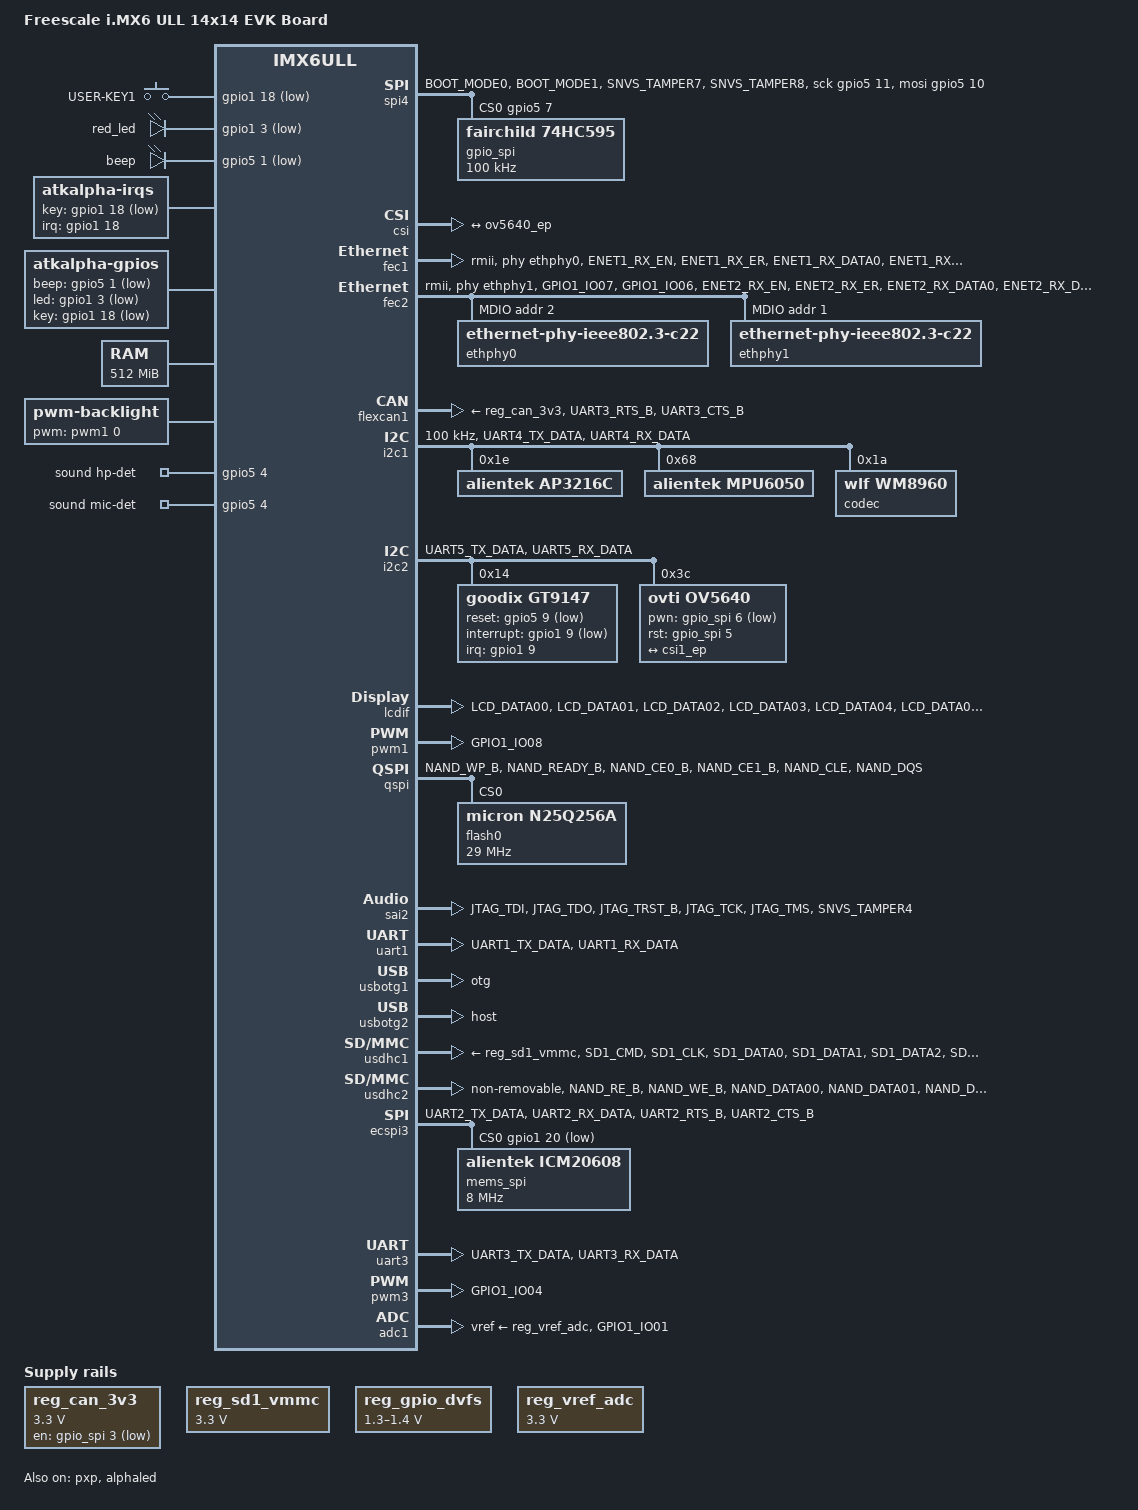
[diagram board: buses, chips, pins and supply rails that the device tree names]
/*
 * Copyright (C) 2016 Freescale Semiconductor, Inc.
 *
 * This program is free software; you can redistribute it and/or modify
 * it under the terms of the GNU General Public License version 2 as
 * published by the Free Software Foundation.
 */

/dts-v1/;

#include <dt-bindings/input/input.h>
#include "imx6ull.dtsi"

/ {
	model = "Freescale i.MX6 ULL 14x14 EVK Board";
	compatible = "fsl,imx6ull-14x14-evk", "fsl,imx6ull";

	gpio_keys: gpio_keys@0 {
		compatible = "gpio-keys";
		pinctrl-names = "default";
		pinctrl-0 = <&pinctrl_gpios>;
		#address-cells = <1>;
		#size-cells = <0>;
		autorepeat;

		key1@1 {
			label = "USER-KEY1";
			linux,code = <114>;
			gpios = <&gpio1 18 GPIO_ACTIVE_LOW>;
			gpio-key,wakeup;
		};
	};


	dtsleds {
		compatible = "gpio-leds";
		red_led {
			label = "red_led";
			gpios = <&gpio1 3 GPIO_ACTIVE_LOW>;
			linux,default-trigger = "heartbeat";
			default-state = "on";
		};
		beep {
			label = "beep";
			gpios = <&gpio5 1 GPIO_ACTIVE_LOW>;
			default-state = "off";
		};
	};

	irqs {
		#address-cells = <1>;
		#size-cells = <1>;
		compatible = "atkalpha-irqs";
		pinctrl-names = "default";
		pinctrl-0 = <&pinctrl_gpios>;
		key-gpio = <&gpio1 18 GPIO_ACTIVE_LOW>;
		interrupts = <18 IRQ_TYPE_EDGE_BOTH>;
		interrupt-parent = <&gpio1>;
		status = "okay";
	};

	gpios {
		#address-cells = <1>;
		#size-cells = <1>;
		compatible = "atkalpha-gpios";
		pinctrl-names = "default";
		pinctrl-0 = <&pinctrl_gpios>;
		beep-gpio = <&gpio5 1 GPIO_ACTIVE_LOW>;
		led-gpio = <&gpio1 3 GPIO_ACTIVE_LOW>;
		key-gpio = <&gpio1 18 GPIO_ACTIVE_LOW>;
		status = "okay";
	};

	alphaled {
		#address-cells = <1>;
		#size-cells = <1>;
		compatible = "atkalpha-led";
		status = "okay";
		reg = < 0X020C406C 0X04           /*CCM_CCGR1_BASE*/
				0X020E0068 0X04           /*SW_MUX_GPIO1_IO03_BASE*/
				0X020E02F4 0X04           /*SW_PAD_GPIO1_IO03_BASE*/
				0X0209C000 0X04           /*GPIO1_DR_BASE*/
				0X0209C004 0X04 >;        /*GPIO1_GDIR_BASE*/
	};

	chosen {
		stdout-path = &uart1;
	};

	memory {
		reg = <0x80000000 0x20000000>;
	};

	reserved-memory {
		#address-cells = <1>;
		#size-cells = <1>;
		ranges;

		linux,cma {
			compatible = "shared-dma-pool";
			reusable;
			size = <0x14000000>;
			linux,cma-default;
		};
	};

	backlight {
		compatible = "pwm-backlight";
		pwms = <&pwm1 0 5000000>;
		brightness-levels = <0 4 8 16 32 64 128 255>;
		default-brightness-level = <6>;
		status = "okay";
	};

	pxp_v4l2 {
		compatible = "fsl,imx6ul-pxp-v4l2", "fsl,imx6sx-pxp-v4l2", "fsl,imx6sl-pxp-v4l2";
		status = "okay";
	};

	regulators {
		compatible = "simple-bus";
		#address-cells = <1>;
		#size-cells = <0>;

		reg_can_3v3: regulator@0 {
			compatible = "regulator-fixed";
			reg = <0>;
			regulator-name = "can-3v3";
			regulator-min-microvolt = <3300000>;
			regulator-max-microvolt = <3300000>;
			gpios = <&gpio_spi 3 GPIO_ACTIVE_LOW>;
		};

		reg_sd1_vmmc: regulator@1 {
			compatible = "regulator-fixed";
			regulator-name = "VSD_3V3";
			regulator-min-microvolt = <3300000>;
			regulator-max-microvolt = <3300000>;
			//gpio = <&gpio1 9 GPIO_ACTIVE_HIGH>;
			enable-active-high;
		};

		reg_gpio_dvfs: regulator-gpio {
			compatible = "regulator-gpio";
			pinctrl-names = "default";
			pinctrl-0 = <&pinctrl_dvfs>;
			regulator-min-microvolt = <1300000>;
			regulator-max-microvolt = <1400000>;
			regulator-name = "gpio_dvfs";
			regulator-type = "voltage";
			gpios = <&gpio5 3 GPIO_ACTIVE_HIGH>;
			states = <1300000 0x1 1400000 0x0>;
		};

		reg_vref_adc: regulator@2 {
			compatible = "regulator-fixed";
			regulator-name = "VREF_3V3";
			regulator-min-microvolt = <3300000>;
			regulator-max-microvolt = <3300000>;
		};
	};

	sound {
		compatible = "fsl,imx6ul-evk-wm8960",
			   "fsl,imx-audio-wm8960";
		model = "wm8960-audio";
		cpu-dai = <&sai2>;
		audio-codec = <&codec>;
		asrc-controller = <&asrc>;
		codec-master;
		gpr = <&gpr 4 0x100000 0x100000>;
		/*
                 * hp-det = <hp-det-pin hp-det-polarity>;
		 * hp-det-pin: JD1 JD2  or JD3
		 * hp-det-polarity = 0: hp detect high for headphone
		 * hp-det-polarity = 1: hp detect high for speaker
		 */
		hp-det = <3 0>;
		hp-det-gpios = <&gpio5 4 0>;
		mic-det-gpios = <&gpio5 4 0>;
		audio-routing =
			"Headphone Jack", "HP_L",
			"Headphone Jack", "HP_R",
			"Ext Spk", "SPK_LP",
			"Ext Spk", "SPK_LN",
			"Ext Spk", "SPK_RP",
			"Ext Spk", "SPK_RN",
			"LINPUT2", "Mic Jack",
			"LINPUT3", "Mic Jack",
			"RINPUT1", "Main MIC",
			"RINPUT2", "Main MIC",
			"Mic Jack", "MICB",
			"Main MIC", "MICB",
			"CPU-Playback", "ASRC-Playback",
			"Playback", "CPU-Playback",
			"ASRC-Capture", "CPU-Capture",
			"CPU-Capture", "Capture";
	};

	spi4 {
		compatible = "spi-gpio";
		pinctrl-names = "default";
		pinctrl-0 = <&pinctrl_spi4>;
		pinctrl-assert-gpios = <&gpio5 8 GPIO_ACTIVE_LOW>;
		status = "okay";
		gpio-sck = <&gpio5 11 0>;
		gpio-mosi = <&gpio5 10 0>;
		cs-gpios = <&gpio5 7 0>;
		num-chipselects = <1>;
		#address-cells = <1>;
		#size-cells = <0>;

		gpio_spi: gpio_spi@0 {
			compatible = "fairchild,74hc595";
			gpio-controller;
			#gpio-cells = <2>;
			reg = <0>;
			registers-number = <1>;
			registers-default = /bits/ 8 <0x57>;
			spi-max-frequency = <100000>;
		};
	};
};

&cpu0 {
	arm-supply = <&reg_arm>;
	soc-supply = <&reg_soc>;
	dc-supply = <&reg_gpio_dvfs>;
};

&clks {
	assigned-clocks = <&clks IMX6UL_CLK_PLL4_AUDIO_DIV>;
	assigned-clock-rates = <786432000>;
};

&csi {
	status = "okay";

	port {
		csi1_ep: endpoint {
			remote-endpoint = <&ov5640_ep>;
		};
	};
};

&fec1 {
	pinctrl-names = "default";
	pinctrl-0 = <&pinctrl_enet1>;
	phy-mode = "rmii";
	phy-handle = <&ethphy0>;
	status = "okay";
};

&fec2 {
	pinctrl-names = "default";
	pinctrl-0 = <&pinctrl_enet2>;
	phy-mode = "rmii";
	phy-handle = <&ethphy1>;
	status = "okay";

	mdio {
		#address-cells = <1>;
		#size-cells = <0>;

		ethphy0: ethernet-phy@2 {
			compatible = "ethernet-phy-ieee802.3-c22";
			reg = <2>;
		};

		ethphy1: ethernet-phy@1 {
			compatible = "ethernet-phy-ieee802.3-c22";
			reg = <1>;
		};
	};
};

&flexcan1 {
	pinctrl-names = "default";
	pinctrl-0 = <&pinctrl_flexcan1>;
	xceiver-supply = <&reg_can_3v3>;
	status = "okay";
};

// /*&flexcan2 {
// 	pinctrl-names = "default";
// 	pinctrl-0 = <&pinctrl_flexcan2>;
// 	xceiver-supply = <&reg_can_3v3>;
// 	status = "okay";
// };*/

&gpc {
	fsl,cpu_pupscr_sw2iso = <0x1>;
	fsl,cpu_pupscr_sw = <0x0>;
	fsl,cpu_pdnscr_iso2sw = <0x1>;
	fsl,cpu_pdnscr_iso = <0x1>;
	fsl,ldo-bypass = <0>; /* DCDC, ldo-enable */
};

&i2c1 {
	clock-frequency = <100000>;
	pinctrl-names = "default";
	pinctrl-0 = <&pinctrl_i2c1>;
	status = "okay";

	ap3216c@1e{
		compatible = "alientek,ap3216c";
		reg = <0x1e>;
	};

	mpu6050@68{
		compatible = "alientek,mpu6050";
		reg = <0x68>;
	};

	codec: wm8960@1a {
		compatible = "wlf,wm8960";
		reg = <0x1a>;
		clocks = <&clks IMX6UL_CLK_SAI2>;
		clock-names = "mclk";
		wlf,shared-lrclk;
	};
};

&i2c2 {
	clock_frequency = <100000>;
	pinctrl-names = "default";
	pinctrl-0 = <&pinctrl_i2c2>;
	status = "okay";

	gt9147: gt9147@14 {
		compatible = "goodix,gt9147", "goodix,gt9xx";
		reg = <0x14>;
		pinctrl-names = "default";
		pinctrl-0 = <&pinctrl_tsc>;
		interrupt-parent = <&gpio1>;
		interrupts = <9 0>;
		reset-gpios = <&gpio5 9 GPIO_ACTIVE_LOW>;
		interrupt-gpios = <&gpio1 9 GPIO_ACTIVE_LOW>;
		status = "okay";
  };

	ov5640: ov5640@3c {
		compatible = "ovti,ov5640";
		reg = <0x3c>;
		pinctrl-names = "default";
		pinctrl-0 = <&pinctrl_csi1>;
		clocks = <&clks IMX6UL_CLK_CSI>;
		clock-names = "csi_mclk";
		pwn-gpios = <&gpio_spi 6 1>;
		rst-gpios = <&gpio_spi 5 0>;
		csi_id = <0>;
		mclk = <24000000>;
		mclk_source = <0>;
		status = "okay";
		port {
			ov5640_ep: endpoint {
				remote-endpoint = <&csi1_ep>;
			};
		};
	};
};

&iomuxc {
	pinctrl-names = "default";
	pinctrl-0 = <&pinctrl_hog_1>;
	imx6ul-evk {

		pinctrl_adc1: adc1grp {
			fsl,pins = <
				MX6UL_PAD_GPIO1_IO01__GPIO1_IO01 0xb0
			>;
		};

		pinctrl_pwm3: pwm3grp {
			fsl,pins = <
				MX6UL_PAD_GPIO1_IO04__PWM3_OUT  0x110b0
			>;
		};

		pinctrl_uart3: uart3grp {
			fsl,pins = <
				MX6UL_PAD_UART3_TX_DATA__UART3_DCE_TX   0x1b0b1
				MX6UL_PAD_UART3_RX_DATA__UART3_DCE_RX   0x1b0b1
			>;
		};

		pinctrl_ecspi3: icm20608 {
			fsl,pins = <
				MX6UL_PAD_UART2_TX_DATA__GPIO1_IO20     0x10b0 
				MX6UL_PAD_UART2_RX_DATA__ECSPI3_SCLK    0x10b1
				MX6UL_PAD_UART2_RTS_B__ECSPI3_MISO      0x10b1
				MX6UL_PAD_UART2_CTS_B__ECSPI3_MOSI      0x10b1
			>;
		};

		pinctrl_gpios: gpiosgrp {
			fsl,pins = <
				MX6UL_PAD_GPIO1_IO03__GPIO1_IO03        0x10B0		/*led*/
				MX6ULL_PAD_SNVS_TAMPER1__GPIO5_IO01     0x10B0      /*beep*/
				MX6UL_PAD_UART1_CTS_B__GPIO1_IO18       0xF080      /*key*/
			>;
		};

		pinctrl_hog_1: hoggrp-1 {
			fsl,pins = <
				MX6UL_PAD_UART1_RTS_B__GPIO1_IO19	    0x17059 /* SD1 CD */
				MX6UL_PAD_GPIO1_IO05__USDHC1_VSELECT	0x17059 /* SD1 VSELECT */
				/* MX6UL_PAD_GPIO1_IO09__GPIO1_IO09        0x17059  SD1 RESET */
			>;
		};

		pinctrl_csi1: csi1grp {
			fsl,pins = <
				MX6UL_PAD_CSI_MCLK__CSI_MCLK		0x1b088
				MX6UL_PAD_CSI_PIXCLK__CSI_PIXCLK	0x1b088
				MX6UL_PAD_CSI_VSYNC__CSI_VSYNC		0x1b088
				MX6UL_PAD_CSI_HSYNC__CSI_HSYNC		0x1b088
				MX6UL_PAD_CSI_DATA00__CSI_DATA02	0x1b088
				MX6UL_PAD_CSI_DATA01__CSI_DATA03	0x1b088
				MX6UL_PAD_CSI_DATA02__CSI_DATA04	0x1b088
				MX6UL_PAD_CSI_DATA03__CSI_DATA05	0x1b088
				MX6UL_PAD_CSI_DATA04__CSI_DATA06	0x1b088
				MX6UL_PAD_CSI_DATA05__CSI_DATA07	0x1b088
				MX6UL_PAD_CSI_DATA06__CSI_DATA08	0x1b088
				MX6UL_PAD_CSI_DATA07__CSI_DATA09	0x1b088
			>;
		};

		pinctrl_enet1: enet1grp {
			fsl,pins = <
				MX6UL_PAD_ENET1_RX_EN__ENET1_RX_EN	0x1b0b0
				MX6UL_PAD_ENET1_RX_ER__ENET1_RX_ER	0x1b0b0
				MX6UL_PAD_ENET1_RX_DATA0__ENET1_RDATA00	0x1b0b0
				MX6UL_PAD_ENET1_RX_DATA1__ENET1_RDATA01	0x1b0b0
				MX6UL_PAD_ENET1_TX_EN__ENET1_TX_EN	0x1b0b0
				MX6UL_PAD_ENET1_TX_DATA0__ENET1_TDATA00	0x1b0b0
				MX6UL_PAD_ENET1_TX_DATA1__ENET1_TDATA01	0x1b0b0
				MX6UL_PAD_ENET1_TX_CLK__ENET1_REF_CLK1	0x4001b031
			>;
		};

		pinctrl_enet2: enet2grp {
			fsl,pins = <
				MX6UL_PAD_GPIO1_IO07__ENET2_MDC		0x1b0b0
				MX6UL_PAD_GPIO1_IO06__ENET2_MDIO	0x1b0b0
				MX6UL_PAD_ENET2_RX_EN__ENET2_RX_EN	0x1b0b0
				MX6UL_PAD_ENET2_RX_ER__ENET2_RX_ER	0x1b0b0
				MX6UL_PAD_ENET2_RX_DATA0__ENET2_RDATA00	0x1b0b0
				MX6UL_PAD_ENET2_RX_DATA1__ENET2_RDATA01	0x1b0b0
				MX6UL_PAD_ENET2_TX_EN__ENET2_TX_EN	0x1b0b0
				MX6UL_PAD_ENET2_TX_DATA0__ENET2_TDATA00	0x1b0b0
				MX6UL_PAD_ENET2_TX_DATA1__ENET2_TDATA01	0x1b0b0
				MX6UL_PAD_ENET2_TX_CLK__ENET2_REF_CLK2	0x4001b031
			>;
		};

		pinctrl_flexcan1: flexcan1grp{
			fsl,pins = <
				MX6UL_PAD_UART3_RTS_B__FLEXCAN1_RX	0x1b020
				MX6UL_PAD_UART3_CTS_B__FLEXCAN1_TX	0x1b020
			>;
		};

		// /*pinctrl_flexcan2: flexcan2grp{
		// 	fsl,pins = <
		// 		MX6UL_PAD_UART2_RTS_B__FLEXCAN2_RX	0x1b020
		// 		MX6UL_PAD_UART2_CTS_B__FLEXCAN2_TX	0x1b020
		// 	>;
		// };*/

		pinctrl_i2c1: i2c1grp {
			fsl,pins = <
				MX6UL_PAD_UART4_TX_DATA__I2C1_SCL 0x4001b8b0
				MX6UL_PAD_UART4_RX_DATA__I2C1_SDA 0x4001b8b0
			>;
		};

		pinctrl_i2c2: i2c2grp {
			fsl,pins = <
				MX6UL_PAD_UART5_TX_DATA__I2C2_SCL 0x4001b8b0
				MX6UL_PAD_UART5_RX_DATA__I2C2_SDA 0x4001b8b0
			>;
		};

		pinctrl_lcdif_dat: lcdifdatgrp {
			fsl,pins = <
				MX6UL_PAD_LCD_DATA00__LCDIF_DATA00  0X49
				MX6UL_PAD_LCD_DATA01__LCDIF_DATA01  0X49
				MX6UL_PAD_LCD_DATA02__LCDIF_DATA02  0X49
				MX6UL_PAD_LCD_DATA03__LCDIF_DATA03  0X49
				MX6UL_PAD_LCD_DATA04__LCDIF_DATA04  0X49
				MX6UL_PAD_LCD_DATA05__LCDIF_DATA05  0X49
				MX6UL_PAD_LCD_DATA06__LCDIF_DATA06  0X49
				MX6UL_PAD_LCD_DATA07__LCDIF_DATA07  0X49
				MX6UL_PAD_LCD_DATA08__LCDIF_DATA08  0X49
				MX6UL_PAD_LCD_DATA09__LCDIF_DATA09  0X49
				MX6UL_PAD_LCD_DATA10__LCDIF_DATA10  0X49
				MX6UL_PAD_LCD_DATA11__LCDIF_DATA11  0X49
				MX6UL_PAD_LCD_DATA12__LCDIF_DATA12  0X49
				MX6UL_PAD_LCD_DATA13__LCDIF_DATA13  0X49
				MX6UL_PAD_LCD_DATA14__LCDIF_DATA14  0X49
				MX6UL_PAD_LCD_DATA15__LCDIF_DATA15  0X49
				MX6UL_PAD_LCD_DATA16__LCDIF_DATA16  0X49
				MX6UL_PAD_LCD_DATA17__LCDIF_DATA17  0X49
				MX6UL_PAD_LCD_DATA18__LCDIF_DATA18  0X49
				MX6UL_PAD_LCD_DATA19__LCDIF_DATA19  0X49
				MX6UL_PAD_LCD_DATA20__LCDIF_DATA20  0X49
				MX6UL_PAD_LCD_DATA21__LCDIF_DATA21  0X49
				MX6UL_PAD_LCD_DATA22__LCDIF_DATA22  0X49
				MX6UL_PAD_LCD_DATA23__LCDIF_DATA23  0X49
			>;
		};

		pinctrl_lcdif_ctrl: lcdifctrlgrp {
			fsl,pins = <
				MX6UL_PAD_LCD_CLK__LCDIF_CLK	    0X49
				MX6UL_PAD_LCD_ENABLE__LCDIF_ENABLE  0X49
				MX6UL_PAD_LCD_HSYNC__LCDIF_HSYNC    0X49
				MX6UL_PAD_LCD_VSYNC__LCDIF_VSYNC    0X49
			>;
		};

		pinctrl_pwm1: pwm1grp {
			fsl,pins = <
				MX6UL_PAD_GPIO1_IO08__PWM1_OUT   0x110b0
			>;
		};

		pinctrl_qspi: qspigrp {
			fsl,pins = <
				MX6UL_PAD_NAND_WP_B__QSPI_A_SCLK      0x70a1
				MX6UL_PAD_NAND_READY_B__QSPI_A_DATA00 0x70a1
				MX6UL_PAD_NAND_CE0_B__QSPI_A_DATA01   0x70a1
				MX6UL_PAD_NAND_CE1_B__QSPI_A_DATA02   0x70a1
				MX6UL_PAD_NAND_CLE__QSPI_A_DATA03     0x70a1
				MX6UL_PAD_NAND_DQS__QSPI_A_SS0_B      0x70a1
			>;
		};

		pinctrl_sai2: sai2grp {
			fsl,pins = <
				MX6UL_PAD_JTAG_TDI__SAI2_TX_BCLK	0x17088
				MX6UL_PAD_JTAG_TDO__SAI2_TX_SYNC	0x17088
				MX6UL_PAD_JTAG_TRST_B__SAI2_TX_DATA	0x11088
				MX6UL_PAD_JTAG_TCK__SAI2_RX_DATA	0x11088
				MX6UL_PAD_JTAG_TMS__SAI2_MCLK		0x17088
			>;
		};

		pinctrl_tsc: tscgrp {
			fsl,pins = <
				MX6UL_PAD_SNVS_TAMPER9__GPIO5_IO09 0x10B0   /* TSC_RST */
				MX6UL_PAD_GPIO1_IO09__GPIO1_IO09 0x10B0     /* TSC_INT */
			>;
		};

		pinctrl_uart1: uart1grp {
			fsl,pins = <
				MX6UL_PAD_UART1_TX_DATA__UART1_DCE_TX 0x1b0b1
				MX6UL_PAD_UART1_RX_DATA__UART1_DCE_RX 0x1b0b1
			>;
		};

		// /* pinctrl_uart2: uart2grp {
		// 	fsl,pins = <
		// 		MX6UL_PAD_UART2_TX_DATA__UART2_DCE_TX	0x1b0b1
		// 		MX6UL_PAD_UART2_RX_DATA__UART2_DCE_RX	0x1b0b1
		// 		MX6UL_PAD_UART3_RX_DATA__UART2_DCE_RTS	0x1b0b1
		// 		MX6UL_PAD_UART3_TX_DATA__UART2_DCE_CTS	0x1b0b1
		// 	>;
		// };

		// pinctrl_uart2dte: uart2dtegrp {
		// 	fsl,pins = <
		// 		MX6UL_PAD_UART2_TX_DATA__UART2_DTE_RX	0x1b0b1
		// 		MX6UL_PAD_UART2_RX_DATA__UART2_DTE_TX	0x1b0b1
		// 		MX6UL_PAD_UART3_RX_DATA__UART2_DTE_CTS	0x1b0b1
		// 		MX6UL_PAD_UART3_TX_DATA__UART2_DTE_RTS	0x1b0b1
		// 	>;
		// };*/

		pinctrl_usdhc1: usdhc1grp {
			fsl,pins = <
				MX6UL_PAD_SD1_CMD__USDHC1_CMD     0x17059
				MX6UL_PAD_SD1_CLK__USDHC1_CLK     0x10071
				MX6UL_PAD_SD1_DATA0__USDHC1_DATA0 0x17059
				MX6UL_PAD_SD1_DATA1__USDHC1_DATA1 0x17059
				MX6UL_PAD_SD1_DATA2__USDHC1_DATA2 0x17059
				MX6UL_PAD_SD1_DATA3__USDHC1_DATA3 0x17059
			>;
		};

		pinctrl_usdhc1_100mhz: usdhc1grp100mhz {
			fsl,pins = <
				MX6UL_PAD_SD1_CMD__USDHC1_CMD     0x170b9
				MX6UL_PAD_SD1_CLK__USDHC1_CLK     0x100b9
				MX6UL_PAD_SD1_DATA0__USDHC1_DATA0 0x170b9
				MX6UL_PAD_SD1_DATA1__USDHC1_DATA1 0x170b9
				MX6UL_PAD_SD1_DATA2__USDHC1_DATA2 0x170b9
				MX6UL_PAD_SD1_DATA3__USDHC1_DATA3 0x170b9
			>;
		};

		pinctrl_usdhc1_200mhz: usdhc1grp200mhz {
			fsl,pins = <
				MX6UL_PAD_SD1_CMD__USDHC1_CMD     0x170f9
				MX6UL_PAD_SD1_CLK__USDHC1_CLK     0x100f9
				MX6UL_PAD_SD1_DATA0__USDHC1_DATA0 0x170f9
				MX6UL_PAD_SD1_DATA1__USDHC1_DATA1 0x170f9
				MX6UL_PAD_SD1_DATA2__USDHC1_DATA2 0x170f9
				MX6UL_PAD_SD1_DATA3__USDHC1_DATA3 0x170f9
			>;
		};

		pinctrl_usdhc2: usdhc2grp {
			fsl,pins = <
				MX6UL_PAD_NAND_RE_B__USDHC2_CLK     0x10069
				MX6UL_PAD_NAND_WE_B__USDHC2_CMD     0x17059
				MX6UL_PAD_NAND_DATA00__USDHC2_DATA0 0x17059
				MX6UL_PAD_NAND_DATA01__USDHC2_DATA1 0x17059
				MX6UL_PAD_NAND_DATA02__USDHC2_DATA2 0x17059
				MX6UL_PAD_NAND_DATA03__USDHC2_DATA3 0x17059
			>;
		};

		pinctrl_usdhc2_8bit: usdhc2grp_8bit {
			fsl,pins = <
				MX6UL_PAD_NAND_RE_B__USDHC2_CLK     0x10069
				MX6UL_PAD_NAND_WE_B__USDHC2_CMD     0x17059
				MX6UL_PAD_NAND_DATA00__USDHC2_DATA0 0x17059
				MX6UL_PAD_NAND_DATA01__USDHC2_DATA1 0x17059
				MX6UL_PAD_NAND_DATA02__USDHC2_DATA2 0x17059
				MX6UL_PAD_NAND_DATA03__USDHC2_DATA3 0x17059
				MX6UL_PAD_NAND_DATA04__USDHC2_DATA4 0x17059
				MX6UL_PAD_NAND_DATA05__USDHC2_DATA5 0x17059
				MX6UL_PAD_NAND_DATA06__USDHC2_DATA6 0x17059
				MX6UL_PAD_NAND_DATA07__USDHC2_DATA7 0x17059
			>;
		};

		pinctrl_usdhc2_8bit_100mhz: usdhc2grp_8bit_100mhz {
			fsl,pins = <
				MX6UL_PAD_NAND_RE_B__USDHC2_CLK     0x100b9
				MX6UL_PAD_NAND_WE_B__USDHC2_CMD     0x170b9
				MX6UL_PAD_NAND_DATA00__USDHC2_DATA0 0x170b9
				MX6UL_PAD_NAND_DATA01__USDHC2_DATA1 0x170b9
				MX6UL_PAD_NAND_DATA02__USDHC2_DATA2 0x170b9
				MX6UL_PAD_NAND_DATA03__USDHC2_DATA3 0x170b9
				MX6UL_PAD_NAND_DATA04__USDHC2_DATA4 0x170b9
				MX6UL_PAD_NAND_DATA05__USDHC2_DATA5 0x170b9
				MX6UL_PAD_NAND_DATA06__USDHC2_DATA6 0x170b9
				MX6UL_PAD_NAND_DATA07__USDHC2_DATA7 0x170b9
			>;
		};

		pinctrl_usdhc2_8bit_200mhz: usdhc2grp_8bit_200mhz {
			fsl,pins = <
				MX6UL_PAD_NAND_RE_B__USDHC2_CLK     0x100f9
				MX6UL_PAD_NAND_WE_B__USDHC2_CMD     0x170f9
				MX6UL_PAD_NAND_DATA00__USDHC2_DATA0 0x170f9
				MX6UL_PAD_NAND_DATA01__USDHC2_DATA1 0x170f9
				MX6UL_PAD_NAND_DATA02__USDHC2_DATA2 0x170f9
				MX6UL_PAD_NAND_DATA03__USDHC2_DATA3 0x170f9
				MX6UL_PAD_NAND_DATA04__USDHC2_DATA4 0x170f9
				MX6UL_PAD_NAND_DATA05__USDHC2_DATA5 0x170f9
				MX6UL_PAD_NAND_DATA06__USDHC2_DATA6 0x170f9
				MX6UL_PAD_NAND_DATA07__USDHC2_DATA7 0x170f9
			>;
		};

		pinctrl_wdog: wdoggrp {
			fsl,pins = <
				MX6UL_PAD_LCD_RESET__WDOG1_WDOG_ANY    0x30b0
			>;
		};
	};
};

&iomuxc_snvs {
	pinctrl-names = "default_snvs";
        pinctrl-0 = <&pinctrl_hog_2>;
        imx6ul-evk {
	
		pinctrl_hog_2: hoggrp-2 {
                        fsl,pins = <
                                MX6ULL_PAD_SNVS_TAMPER0__GPIO5_IO00      0x80000000
                        >;
                };

		pinctrl_dvfs: dvfsgrp {
                        fsl,pins = <
                                MX6ULL_PAD_SNVS_TAMPER3__GPIO5_IO03      0x79
                        >;
                };
		
		pinctrl_lcdif_reset: lcdifresetgrp {
                        fsl,pins = <
                                /* used for lcd reset */
                                /* MX6ULL_PAD_SNVS_TAMPER9__GPIO5_IO09  0x79 */
                        >;
                };

		pinctrl_spi4: spi4grp {
                        fsl,pins = <
                                MX6ULL_PAD_BOOT_MODE0__GPIO5_IO10        0x70a1
                                MX6ULL_PAD_BOOT_MODE1__GPIO5_IO11        0x70a1
                                MX6ULL_PAD_SNVS_TAMPER7__GPIO5_IO07      0x70a1
                                MX6ULL_PAD_SNVS_TAMPER8__GPIO5_IO08      0x80000000
                        >;
                };

                pinctrl_sai2_hp_det_b: sai2_hp_det_grp {
                        fsl,pins = <
                                MX6ULL_PAD_SNVS_TAMPER4__GPIO5_IO04   0x17059
                        >;
                };
        };
};


&lcdif {
	pinctrl-names = "default";
	pinctrl-0 = <&pinctrl_lcdif_dat
		     &pinctrl_lcdif_ctrl>;
	display = <&display0>;
	status = "okay";

	display0: display {
		bits-per-pixel = <24>;
		bus-width = <24>;
		rotation = <180>;

		display-timings {
			native-mode = <&timing0>;
			timing0: timing0 {
			clock-frequency = <31000000>;
			hactive = <800>;
			vactive = <480>;
			hfront-porch = <40>;
			hback-porch = <88>;
			hsync-len = <48>;
			vback-porch = <32>;
			vfront-porch = <13>;
			vsync-len = <3>;

			hsync-active = <0>;
			vsync-active = <0>;
			de-active = <1>;
			pixelclk-active = <0>;
			};
		};
	};
};

&pwm1 {
	pinctrl-names = "default";
	pinctrl-0 = <&pinctrl_pwm1>;
	clocks = <&clks IMX6UL_CLK_PWM1>,
			 <&clks IMX6UL_CLK_PWM1>;
	status = "okay";
};

&pxp {
	status = "okay";
};

&qspi {
	pinctrl-names = "default";
	pinctrl-0 = <&pinctrl_qspi>;
	status = "okay";
	ddrsmp=<0>;

	flash0: n25q256a@0 {
		#address-cells = <1>;
		#size-cells = <1>;
		compatible = "micron,n25q256a";
		spi-max-frequency = <29000000>;
		spi-nor,ddr-quad-read-dummy = <6>;
		reg = <0>;
	};
};

&sai2 {
	pinctrl-names = "default";
	pinctrl-0 = <&pinctrl_sai2
		     &pinctrl_sai2_hp_det_b>;

	assigned-clocks = <&clks IMX6UL_CLK_SAI2_SEL>,
			  <&clks IMX6UL_CLK_SAI2>;
	assigned-clock-parents = <&clks IMX6UL_CLK_PLL4_AUDIO_DIV>;
	assigned-clock-rates = <0>, <12288000>;

	status = "okay";
};

// &tsc {
// 	pinctrl-names = "default";
// 	pinctrl-0 = <&pinctrl_tsc>;
// 	/* xnur-gpio = <&gpio1 3 GPIO_ACTIVE_LOW>; */
// 	measure-delay-time = <0xffff>;
// 	pre-charge-time = <0xfff>;
// 	status = "okay";
// };

&uart1 {
	pinctrl-names = "default";
	pinctrl-0 = <&pinctrl_uart1>;
	status = "okay";
};

// /*
// &uart2 {
// 	pinctrl-names = "default";
// 	pinctrl-0 = <&pinctrl_uart2>;
// 	fsl,uart-has-rtscts;
// 	status = "okay";
// };
// */

&usbotg1 {
	dr_mode = "otg";
	srp-disable;
	hnp-disable;
	adp-disable;
	status = "okay";
};

&usbotg2 {
	dr_mode = "host";
	disable-over-current;
	status = "okay";
};

&usbphy1 {
	tx-d-cal = <0x5>;
};

&usbphy2 {
	tx-d-cal = <0x5>;
};

&usdhc1 {
	pinctrl-names = "default", "state_100mhz", "state_200mhz";
	pinctrl-0 = <&pinctrl_usdhc1>;
	pinctrl-1 = <&pinctrl_usdhc1_100mhz>;
	pinctrl-2 = <&pinctrl_usdhc1_200mhz>;
	cd-gpios = <&gpio1 19 GPIO_ACTIVE_LOW>;
	keep-power-in-suspend;
	enable-sdio-wakeup;
	vmmc-supply = <&reg_sd1_vmmc>;
	status = "okay";
};

&usdhc2 {
	pinctrl-names = "default";
	pinctrl-0 = <&pinctrl_usdhc2>;
	non-removable;
	status = "okay";
};

&wdog1 {
	pinctrl-names = "default";
	pinctrl-0 = <&pinctrl_wdog>;
	fsl,wdog_b;
};



&ecspi3 {
	fsl,spi-num-chipselects = <1>;
	// 被接管的片选引脚
	cs-gpios = <&gpio1 20 GPIO_ACTIVE_LOW>;
	pinctrl-names = "default";
	pinctrl-0 = <&pinctrl_ecspi3>;
	status = "okay";
	/*  ECSPI3 的第 0 个通道 */
	mems_spi: icm20608@0 {
		compatible = "alientek,icm20608";
		spi-max-frequency = <8000000>;
		reg = <0>;
		// cs-gpio = <&gpio1 20 GPIO_ACTIVE_LOW>;
	};
};

&uart3 {
	pinctrl-names = "default";
	pinctrl-0 = <&pinctrl_uart3>;
	status = "okay";
};

&pwm3 {
	pinctrl-names = "default";
	pinctrl-0 = <&pinctrl_pwm3>;
	clocks = <&clks IMX6UL_CLK_PWM3>,
			 <&clks IMX6UL_CLK_PWM3>;
	status = "okay";
};


&adc1 {
	pinctrl-names = "default";
	pinctrl-0 = <&pinctrl_adc1>;
	num-channels = <2>;
	vref-supply = <&reg_vref_adc>;
	status = "okay";
};

